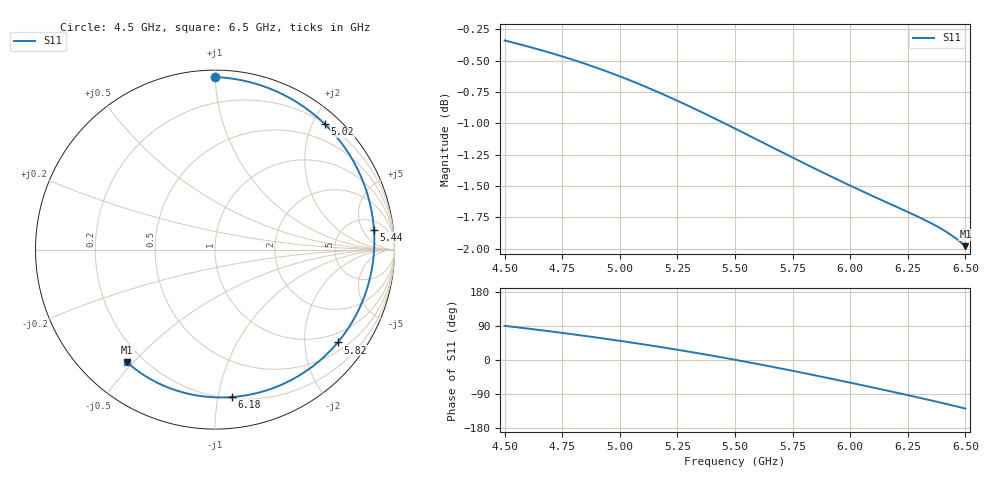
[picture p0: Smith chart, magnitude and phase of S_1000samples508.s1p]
! TOUCHSTONE file generated by CST MICROWAVE STUDIO
! Date and time: Fri Oct 28 10:07:49 2022
! Project name: L.cst
! Parameters = {Di=1.27; Epsilon_r=1.56; InnerDiameter=1.27; Length=2; Lf=10; Lg=60; OuterConductorThickness=0.2921; OuterDiameter=3.6; Wf=3; Wp=41.2; de=1.5; df=6.8; g=0.8; gx=3.37892; gy=3.08204; h=2.34; hf=1.524; px=8.76867; py=12.3131; w=9.7; wx=5.38975; wy=9.23104}
! Header version: 2018
! Port assignment regex: !\s*Touchstone port\s*([0-9]+)\s*=\s*(CST MWS port|CST DS port)\s*([0-9]+|Zmin|Zmax)\s*\(\"(.*)\"\)(\s*mode\s*([0-9]+))?.*
! Touchstone port assignment:
! Touchstone port 1 = CST MWS port 1 ("")
# GHz S DB R 50
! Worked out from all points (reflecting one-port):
!   101 points, 4.5 GHz to 6.5 GHz, reference 50 ohm
!   lowest |S11| = -2.0 dB at 6.5 GHz (marker M1), VSWR 8.81, Z = 6.99 - j23.9 ohm
!   phase of S11 starts at 90 deg and turns -218 deg over the sweep
!   S11 on the Smith chart (normalised r, x): 4.5 GHz: 0.04, +1.00; 5.02 GHz: 0.21, +2.19; 5.44 GHz: 8, +9; 5.82 GHz: 0.72, -2.81; 6.18 GHz: 0.21, -1.10; 6.5 GHz: 0.14, -0.48
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4.5  -0.34 90.1
4.58  -0.38 84.4
4.64  -0.41 79.9
4.76  -0.47 70.7
4.88  -0.54 60.9
5  -0.63 50.6
5.02  -0.64 48.8
5.14  -0.73 37.7
5.2  -0.78 31.9
5.26  -0.83 26.0
5.36  -0.92 15.7
5.44  -0.99 7.2
5.5  -1.04 0.6
5.58  -1.12 -8.4
5.64  -1.17 -15.4
5.7  -1.23 -22.5
5.76  -1.28 -29.8
5.82  -1.34 -37.1
5.92  -1.43 -49.6
6  -1.50 -59.9
6.06  -1.55 -67.6
6.1  -1.58 -72.9
6.18  -1.65 -83.4
6.26  -1.72 -94.2
6.32  -1.77 -102.4
6.38  -1.83 -110.7
6.44  -1.89 -119.3
6.5  -1.98 -128.2
